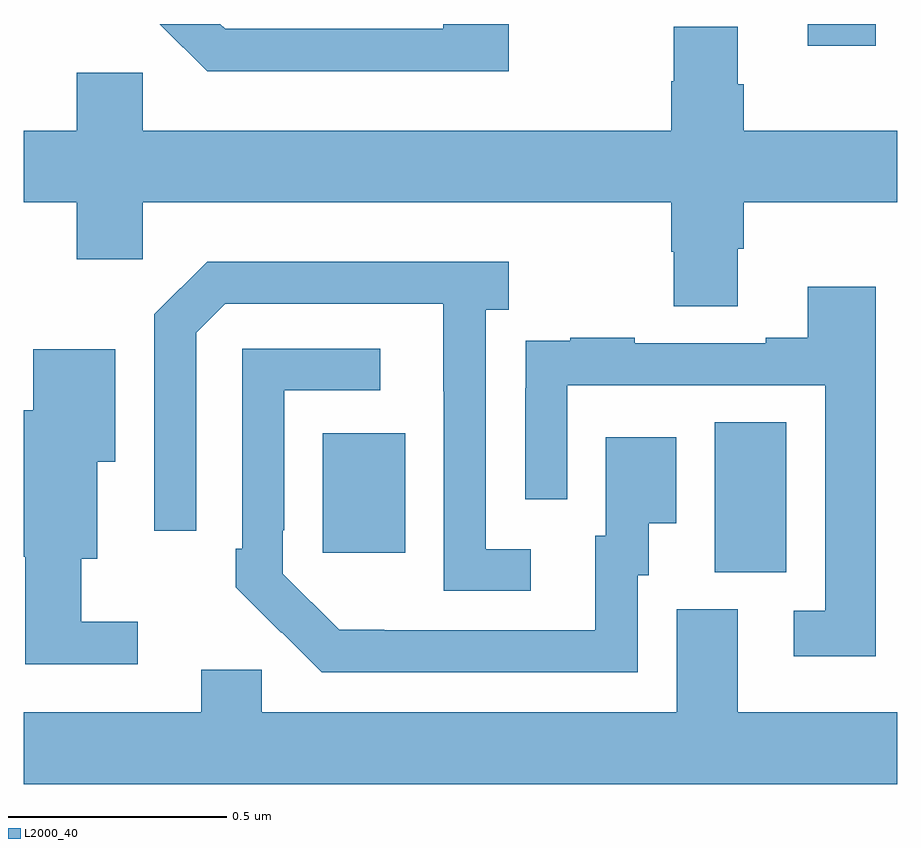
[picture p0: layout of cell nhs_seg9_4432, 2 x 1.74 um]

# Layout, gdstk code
import gdstk
lib = gdstk.Library(unit=1e-6, precision=1e-09)
def R(c, l, rs):  # rectangles x0, y0, x1, y1
    for r in rs: c.add(gdstk.rectangle(r[:2], r[2:], *l))
def P(c, l, *ps):  # polygons
    for p in ps: c.add(gdstk.Polygon(p, *l))
L2000_40 = (2000, 40)

nhs_seg9_4432 = lib.new_cell('nhs_seg9_4432')
R(nhs_seg9_4432, L2000_40, [(167.582,1190.245,167.746,1190.588), (166.685,1190.289,166.873,1190.563), (167.795,1191.45,167.951,1191.5)])
P(nhs_seg9_4432, L2000_40, [(167.11,1191.5),(166.961,1191.5),(166.961,1191.489),(166.461,1191.489),(166.45,1191.5),(166.312,1191.5),(166.42,1191.392),(167.11,1191.392)],
  [(167.635,1190.986),(167.648,1190.986),(167.648,1191.092),(168,1191.092),(168,1191.256),(167.648,1191.256),(167.648,1191.362),(167.635,1191.362),(167.635,1191.494),(167.488,1191.494),(167.488,1191.369),(167.483,1191.369),(167.483,1191.256),(166.272,1191.256),(166.272,1191.388),(166.121,1191.388),(166.121,1191.256),(166,1191.256),(166,1191.092),(166.121,1191.092),(166.121,1190.961),(166.272,1190.961),(166.272,1191.092),(167.483,1191.092),(167.483,1190.979),(167.488,1190.979),(167.488,1190.854),(167.635,1190.854)],
  [(167.161,1190.298),(167.058,1190.298),(167.058,1190.846),(167.11,1190.846),(167.11,1190.956),(166.42,1190.956),(166.299,1190.835),(166.299,1190.34),(166.395,1190.34),(166.395,1190.793),(166.461,1190.859),(166.961,1190.859),(166.961,1190.659),(166.962,1190.659),(166.962,1190.202),(167.161,1190.202)],
  [(167.951,1190.899),(167.795,1190.899),(167.795,1190.782),(167.699,1190.782),(167.699,1190.769),(167.399,1190.769),(167.399,1190.782),(167.251,1190.782),(167.251,1190.775),(167.149,1190.775),(167.149,1190.666),(167.148,1190.666),(167.148,1190.412),(167.244,1190.412),(167.244,1190.673),(167.835,1190.673),(167.835,1190.157),(167.763,1190.157),(167.763,1190.052),(167.951,1190.052)],
  [(167.406,1190.238),(167.431,1190.238),(167.431,1190.357),(167.494,1190.357),(167.494,1190.554),(167.333,1190.554),(167.333,1190.328),(167.309,1190.328),(167.309,1190.112),(166.825,1190.112),(166.825,1190.113),(166.722,1190.113),(166.593,1190.241),(166.593,1190.341),(166.596,1190.341),(166.596,1190.661),(166.816,1190.661),(166.816,1190.757),(166.5,1190.757),(166.5,1190.299),(166.485,1190.299),(166.485,1190.211),(166.59,1190.106),(166.591,1190.107),(166.682,1190.016),(167.406,1190.016)],
  [(166.261,1190.131),(166.132,1190.131),(166.132,1190.276),(166.168,1190.276),(166.168,1190.498),(166.21,1190.498),(166.21,1190.755),(166.022,1190.755),(166.022,1190.616),(166,1190.616),(166,1190.28),(166.003,1190.28),(166.003,1190.034),(166.261,1190.034)],
  [(168,1189.924),(167.635,1189.924),(167.635,1190.16),(167.495,1190.16),(167.495,1189.924),(166.545,1189.924),(166.545,1190.022),(166.406,1190.022),(166.406,1189.924),(166,1189.924),(166,1189.76),(168,1189.76)])

lib.write_gds('nhs_seg9_4432.gds')
